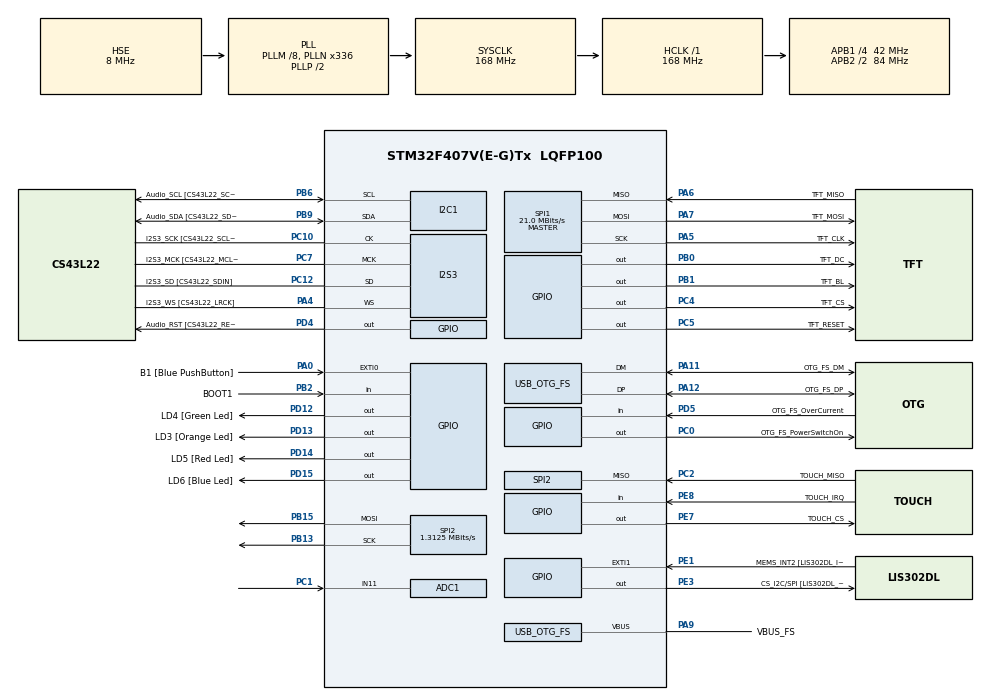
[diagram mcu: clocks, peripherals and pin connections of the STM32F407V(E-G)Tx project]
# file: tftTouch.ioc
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ADC1.Channel-0\#ChannelRegularConversion=ADC_CHANNEL_TEMPSENSOR
ADC1.Channel-1\#ChannelRegularConversion=ADC_CHANNEL_11
ADC1.ClockPrescaler=ADC_CLOCK_SYNC_PCLK_DIV8
ADC1.ContinuousConvMode=ENABLE
ADC1.DMAContinuousRequests=ENABLE
ADC1.NbrOfConversion=2
ADC1.NbrOfConversionFlag=1
ADC1.Rank-0\#ChannelRegularConversion=1
ADC1.Rank-1\#ChannelRegularConversion=2
ADC1.SamplingTime-0\#ChannelRegularConversion=ADC_SAMPLETIME_112CYCLES
ADC1.SamplingTime-1\#ChannelRegularConversion=ADC_SAMPLETIME_112CYCLES
ADC1.ScanConvMode=ENABLE
ADC1.master=1
Dma.ADC1.0.Direction=DMA_PERIPH_TO_MEMORY
Dma.ADC1.0.FIFOMode=DMA_FIFOMODE_ENABLE
Dma.ADC1.0.FIFOThreshold=DMA_FIFO_THRESHOLD_FULL
Dma.ADC1.0.Instance=DMA2_Stream0
Dma.ADC1.0.MemBurst=DMA_MBURST_SINGLE
Dma.ADC1.0.MemDataAlignment=DMA_MDATAALIGN_WORD
Dma.ADC1.0.MemInc=DMA_MINC_ENABLE
Dma.ADC1.0.Mode=DMA_CIRCULAR
Dma.ADC1.0.PeriphBurst=DMA_PBURST_SINGLE
Dma.ADC1.0.PeriphDataAlignment=DMA_PDATAALIGN_WORD
Dma.ADC1.0.PeriphInc=DMA_PINC_DISABLE
Dma.ADC1.0.Priority=DMA_PRIORITY_LOW
Dma.Request0=ADC1
I2S3.AudioFreq-Half_Duplex_Master=I2S_AUDIOFREQ_96K
I2S3.ErrorAudioFreq=-2.34 %
I2S3.ErrorAudioFreq-Half_Duplex_Master=0.8 %
I2S3.FullDuplexMode=I2S_FULLDUPLEXMODE_DISABLE
I2S3.Instance=SPI$Index
I2S3.RealAudioFreq=93.75 KHz
I2S3.RealAudioFreq-Half_Duplex_Master=96.774 KHz
I2S3.VirtualMode=I2S_MODE_MASTER
Mcu.Family=STM32F4
Mcu.Name=STM32F407V(E-G)Tx
Mcu.Package=LQFP100
NVIC.DMA2_Stream0_IRQn=true\:0\:0\:false\:false\:true\:false\:true
NVIC.OTG_FS_IRQn=true\:0\:0\:false\:false\:true\:true\:true
NVIC.PriorityGroup=NVIC_PRIORITYGROUP_0
PA0-WKUP.GPIO_Label=B1 [Blue PushButton]
PA0-WKUP.GPIO_ModeDefaultEXTI=GPIO_MODE_EVT_RISING
PA0-WKUP.GPIO_PuPd=GPIO_NOPULL
PA0-WKUP.Signal=GPXTI0
PA10.GPIO_Label=OTG_FS_ID
PA10.GPIO_Mode=GPIO_MODE_AF_PP
PA10.GPIO_PuPd=GPIO_NOPULL
PA10.GPIO_Speed=GPIO_SPEED_FREQ_LOW
PA10.Signal=USB_OTG_FS_ID
PA11.GPIO_Label=OTG_FS_DM
PA11.GPIO_Mode=GPIO_MODE_AF_PP
PA11.GPIO_PuPd=GPIO_NOPULL
PA11.GPIO_Speed=GPIO_SPEED_FREQ_LOW
PA11.Mode=Host_Only
PA11.Signal=USB_OTG_FS_DM
PA12.GPIO_Label=OTG_FS_DP
PA12.GPIO_Mode=GPIO_MODE_AF_PP
PA12.GPIO_PuPd=GPIO_NOPULL
PA12.GPIO_Speed=GPIO_SPEED_FREQ_LOW
PA12.Mode=Host_Only
PA12.Signal=USB_OTG_FS_DP
PA13.GPIO_Label=SWDIO
PA13.Mode=Trace_Asynchronous_SW
PA13.Signal=SYS_JTMS-SWDIO
PA14.GPIO_Label=SWCLK
PA14.Mode=Trace_Asynchronous_SW
PA14.Signal=SYS_JTCK-SWCLK
PA4.GPIO_Label=I2S3_WS [CS43L22_LRCK]
PA4.GPIO_Mode=GPIO_MODE_AF_PP
PA4.GPIO_PuPd=GPIO_NOPULL
PA4.GPIO_Speed=GPIO_SPEED_FREQ_LOW
PA4.Mode=Half_Duplex_Master
PA4.Signal=I2S3_WS
PA5.GPIO_Label=TFT_CLK
PA5.GPIO_Mode=GPIO_MODE_AF_PP
PA5.GPIO_PuPd=GPIO_NOPULL
PA5.GPIO_Speed=GPIO_SPEED_FREQ_LOW
PA5.Mode=Full_Duplex_Master
PA5.Signal=SPI1_SCK
PA6.GPIO_Label=TFT_MISO
PA6.GPIO_Mode=GPIO_MODE_AF_PP
PA6.GPIO_PuPd=GPIO_NOPULL
PA6.GPIO_Speed=GPIO_SPEED_FREQ_LOW
PA6.Mode=Full_Duplex_Master
PA6.Signal=SPI1_MISO
PA7.GPIO_Label=TFT_MOSI
PA7.GPIO_Mode=GPIO_MODE_AF_PP
PA7.GPIO_PuPd=GPIO_NOPULL
PA7.GPIO_Speed=GPIO_SPEED_FREQ_LOW
PA7.Mode=Full_Duplex_Master
PA7.Signal=SPI1_MOSI
PA9.GPIO_Label=VBUS_FS
PA9.GPIO_Mode=GPIO_MODE_INPUT
PA9.GPIO_PuPd=GPIO_NOPULL
PA9.Mode=Activate_VBUS
PA9.Signal=USB_OTG_FS_VBUS
PB0.GPIO_Label=TFT_DC
PB0.Signal=GPIO_Output
PB1.GPIO_Label=TFT_BL
PB1.Signal=GPIO_Output
PB10.GPIO_Label=CLK_IN [MP45DT02_CLK]
PB10.GPIO_Mode=GPIO_MODE_AF_PP
PB10.GPIO_PuPd=GPIO_NOPULL
PB10.GPIO_Speed=GPIO_SPEED_FREQ_LOW
PB10.Signal=I2S2_CK
PB13.Mode=Full_Duplex_Master
PB13.Signal=SPI2_SCK
PB15.Mode=Full_Duplex_Master
PB15.Signal=SPI2_MOSI
PB2.GPIO_Label=BOOT1
PB2.GPIO_Mode=GPIO_MODE_INPUT
PB2.GPIO_PuPd=GPIO_NOPULL
PB2.Signal=GPIO_Input
PB3.GPIO_Label=SWO
PB3.Mode=Trace_Asynchronous_SW
PB3.Signal=SYS_JTDO-SWO
PB6.GPIO_Label=Audio_SCL [CS43L22_SCL]
PB6.GPIO_Mode=GPIO_MODE_AF_OD
PB6.GPIO_Pu=GPIO_PULLUP
PB6.GPIO_PuPd=GPIO_NOPULL
PB6.GPIO_Speed=GPIO_SPEED_FREQ_LOW
PB6.Mode=I2C
PB6.Signal=I2C1_SCL
PB9.GPIO_Label=Audio_SDA [CS43L22_SDA]
PB9.GPIO_Mode=GPIO_MODE_AF_OD
PB9.GPIO_Pu=GPIO_PULLUP
PB9.GPIO_PuPd=GPIO_NOPULL
PB9.GPIO_Speed=GPIO_SPEED_FREQ_LOW
PB9.Mode=I2C
PB9.Signal=I2C1_SDA
PC0.GPIO_Label=OTG_FS_PowerSwitchOn
PC0.GPIO_PuPd=GPIO_NOPULL
PC0.GPIO_Speed=GPIO_SPEED_FREQ_LOW
PC0.PinState=GPIO_PIN_SET
PC0.Signal=GPIO_Output
PC1.Signal=ADCx_IN11
PC10.GPIO_Label=I2S3_SCK [CS43L22_SCLK]
PC10.GPIO_Mode=GPIO_MODE_AF_PP
PC10.GPIO_PuPd=GPIO_NOPULL
PC10.GPIO_Speed=GPIO_SPEED_FREQ_LOW
PC10.Mode=Half_Duplex_Master
PC10.Signal=I2S3_CK
PC12.GPIO_Label=I2S3_SD [CS43L22_SDIN]
PC12.GPIO_Mode=GPIO_MODE_AF_PP
PC12.GPIO_PuPd=GPIO_NOPULL
PC12.GPIO_Speed=GPIO_SPEED_FREQ_LOW
PC12.Mode=Half_Duplex_Master
PC12.Signal=I2S3_SD
PC14-OSC32_IN.GPIO_Label=PC14-OSC32_IN
PC14-OSC32_IN.Mode=LSE-External-Oscillator
PC14-OSC32_IN.Signal=RCC_OSC32_IN
PC15-OSC32_OUT.GPIO_Label=PC15-OSC32_OUT
PC15-OSC32_OUT.Mode=LSE-External-Oscillator
PC15-OSC32_OUT.Signal=RCC_OSC32_OUT
PC2.GPIO_Label=TOUCH_MISO
PC2.Mode=Full_Duplex_Master
PC2.Signal=SPI2_MISO
PC3.GPIO_Label=PDM_OUT [MP45DT02_DOUT]
PC3.GPIO_Mode=GPIO_MODE_AF_PP
PC3.GPIO_PuPd=GPIO_NOPULL
PC3.GPIO_Speed=GPIO_SPEED_FREQ_LOW
PC3.Signal=I2S2_SD
PC4.GPIO_Label=TFT_CS
PC4.Signal=GPIO_Output
PC5.GPIO_Label=TFT_RESET
PC5.Signal=GPIO_Output
PC7.GPIO_Label=I2S3_MCK [CS43L22_MCLK]
PC7.GPIO_Mode=GPIO_MODE_AF_PP
PC7.GPIO_PuPd=GPIO_NOPULL
PC7.GPIO_Speed=GPIO_SPEED_FREQ_LOW
PC7.Mode=Master_Clock_Activated
PC7.Signal=I2S3_MCK
PD12.GPIO_Label=LD4 [Green Led]
PD12.GPIO_PuPd=GPIO_NOPULL
PD12.GPIO_Speed=GPIO_SPEED_FREQ_LOW
PD12.Signal=GPIO_Output
PD13.GPIO_Label=LD3 [Orange Led]
PD13.GPIO_ModeDefaultOutputPP=GPIO_MODE_OUTPUT_PP
PD13.GPIO_PuPd=GPIO_NOPULL
PD13.GPIO_Speed=GPIO_SPEED_FREQ_MEDIUM
PD13.Signal=GPIO_Output
PD14.GPIO_Label=LD5 [Red Led]
PD14.GPIO_PuPd=GPIO_NOPULL
PD14.GPIO_Speed=GPIO_SPEED_FREQ_LOW
PD14.Signal=GPIO_Output
PD15.GPIO_Label=LD6 [Blue Led]
PD15.GPIO_PuPd=GPIO_NOPULL
PD15.GPIO_Speed=GPIO_SPEED_FREQ_LOW
PD15.Signal=GPIO_Output
PD4.GPIO_Label=Audio_RST [CS43L22_RESET]
PD4.GPIO_PuPd=GPIO_NOPULL
PD4.GPIO_Speed=GPIO_SPEED_FREQ_LOW
PD4.Signal=GPIO_Output
PD5.GPIO_Label=OTG_FS_OverCurrent
PD5.GPIO_Mode=GPIO_MODE_INPUT
PD5.GPIO_PuPd=GPIO_NOPULL
PD5.Signal=GPIO_Input
PE1.GPIO_Label=MEMS_INT2 [LIS302DL_INT2]
PE1.GPIO_ModeDefaultEXTI=GPIO_MODE_EVT_RISING
PE1.GPIO_PuPd=GPIO_NOPULL
PE1.Signal=GPXTI1
PE3.GPIO_Label=CS_I2C/SPI [LIS302DL_CS_I2C/SPI]
PE3.GPIO_PuPd=GPIO_NOPULL
PE3.GPIO_Speed=GPIO_SPEED_FREQ_LOW
PE3.Signal=GPIO_Output
PE7.GPIO_Label=TOUCH_CS
PE7.Signal=GPIO_Output
PE8.GPIO_Label=TOUCH_IRQ
PE8.Signal=GPIO_Input
PH0-OSC_IN.GPIO_Label=PH0-OSC_IN
PH0-OSC_IN.Mode=HSE-External-Oscillator
PH0-OSC_IN.Signal=RCC_OSC_IN
PH1-OSC_OUT.GPIO_Label=PH1-OSC_OUT
PH1-OSC_OUT.Mode=HSE-External-Oscillator
PH1-OSC_OUT.Signal=RCC_OSC_OUT
ProjectManager.HeapSize=0x200
ProjectManager.StackSize=0x400
ProjectManager.TargetToolchain=STM32CubeIDE
RCC.48MHZClocksFreq_Value=48000000
RCC.AHBFreq_Value=168000000
RCC.APB1CLKDivider=RCC_HCLK_DIV4
RCC.APB1Freq_Value=42000000
RCC.APB1TimFreq_Value=84000000
RCC.APB2CLKDivider=RCC_HCLK_DIV2
RCC.APB2Freq_Value=84000000
RCC.APB2TimFreq_Value=168000000
RCC.CortexFreq_Value=168000000
RCC.HCLKFreq_Value=168000000
RCC.HSE_VALUE=8000000
RCC.HSI_VALUE=16000000
RCC.PLLM=8
RCC.PLLN=336
RCC.PLLQ=7
RCC.SYSCLKFreq_VALUE=168000000
RCC.SYSCLKSource=RCC_SYSCLKSOURCE_PLLCLK
RCC.VCOOutputFreq_Value=336000000
SH.ADCx_IN11.0=ADC3_IN11
SH.ADCx_IN11.1=ADC1_IN11,IN11
SPI1.BaudRatePrescaler=SPI_BAUDRATEPRESCALER_4
SPI1.BaudRatePrescaler-Full_Duplex_Master=SPI_BAUDRATEPRESCALER_2
SPI1.CalculateBaudRate=21.0 MBits/s
SPI1.CalculateBaudRate-Full_Duplex_Master=42.0 MBits/s
SPI1.Direction=SPI_DIRECTION_2LINES
SPI1.Mode=SPI_MODE_MASTER
SPI1.Mode-Full_Duplex_Master=SPI_MODE_MASTER
SPI1.VirtualType=VM_MASTER
SPI2.BaudRatePrescaler=SPI_BAUDRATEPRESCALER_32
SPI2.CalculateBaudRate=1.3125 MBits/s
SPI2.Direction=SPI_DIRECTION_2LINES
SPI2.Mode=SPI_MODE_MASTER
SPI2.VirtualType=VM_MASTER
USB_HOST.BSP.number=1
USB_HOST.USBH_HandleTypeDef-CDC_FS=hUsbHostFS
USB_HOST.VirtualModeFS=Cdc
USB_HOST0.BSP.STBoard=false
USB_HOST0.BSP.api=Unknown
USB_HOST0.BSP.i2caddr=0
USB_HOST0.BSP.i2creg=0
USB_HOST0.BSP.instance=PC0
USB_HOST0.BSP.ip=GPIO
USB_HOST0.BSP.mode=Output
USB_HOST0.BSP.name=Drive_VBUS_FS
USB_HOST0.BSP.solution=PC0
USB_OTG_FS.VirtualMode=Host_Only
USB_OTG_FS.phy_itface=HCD_PHY_EMBEDDED
VP_ADC1_TempSens_Input.Mode=IN-TempSens
VP_CRC_VS_CRC.Mode=CRC_Activate
VP_TIM2_VS_ClockSourceINT.Mode=Internal
VP_USB_HOST_VS_USB_HOST_CDC_FS.Mode=CDC_FS
board=STM32F407G-DISC1

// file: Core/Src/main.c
/* USER CODE BEGIN Header */

/**
 * Loren Olsen Lab 07
ECET 260 Mel Dundas

Oct 20 2021

TFT TouchScreen

Added a touch screen functioanlity to our board.

Toggles the red and green onboard LEDs with gui buttons on the touch screen

Running a TFT display with the STM32F4 Discovery Board
We are using the SPI interface. We needed to down the interface speed in the ioc configuration file.
for SPI1 and SPi2 for the STM32 to communicate with the display properly.

Added STemWin drivers and libraries to the project for graphical display functions

This program is also using DMA to get a temperature from an external thermistor on GPIO1

  ******************************************************************************
  * @file           : main.c
  * @brief          : Main program body
  ******************************************************************************
  * @attention
  *
  * <h2><center>&copy; Copyright (c) 2021 STMicroelectronics.
  * All rights reserved.</center></h2>
  *
  * This software component is licensed by ST under Ultimate Liberty license
  * SLA0044, the "License"; You may not use this file except in compliance with
  * the License. You may obtain a copy of the License at:
  *                             www.st.com/SLA0044
  *
  ******************************************************************************
  */
/* USER CODE END Header */
#include "main.h"
#include "usb_host.h"

/* USER CODE BEGIN Includes */
#include <stdio.h>
#include <math.h>
#include <gui.h>
#include <button.h>

/* USER CODE END Includes */

ADC_HandleTypeDef hadc1;
DMA_HandleTypeDef hdma_adc1;

CRC_HandleTypeDef hcrc;

I2C_HandleTypeDef hi2c1;

I2S_HandleTypeDef hi2s3;

SPI_HandleTypeDef hspi1;
SPI_HandleTypeDef hspi2;

TIM_HandleTypeDef htim2;

/* USER CODE BEGIN PV */

extern GUI_PID_STATE pstate;

uint32_t dmaData[200];
uint32_t cpuRaw, thermRaw, count = 0;
float tempcpu, tempextern, readcpu, readtherm = 0.0;
int GUI_Check = 0;

BUTTON_Handle hButtonL;			//Create a button called hButtonL of the type BUTTON_Handle
BUTTON_Handle hButtonR;			//Create a button called hButtonR of the type BUTTON_Handle

/* USER CODE END PV */

void SystemClock_Config(void);
static void MX_GPIO_Init(void);
static void MX_I2C1_Init(void);
static void MX_I2S3_Init(void);
static void MX_SPI1_Init(void);
static void MX_DMA_Init(void);
static void MX_ADC1_Init(void);
static void MX_CRC_Init(void);
static void MX_SPI2_Init(void);
static void MX_TIM2_Init(void);
void MX_USB_HOST_Process(void);

/* USER CODE BEGIN PFP */

int __io_putchar(int ch);	//Used for printing
float  convertAnalogToTemperature(unsigned int analogReadValue);	//Creates an actual temp from an analog value
float convertAnalogCPUToTemperature(unsigned int analogReadValue);	//Creates an actual temp from an analog value

void doTemps();	//Calls functions to convert temps and then prints them

/* USER CODE END PFP */

int main(void)
{

  /* MCU Configuration--------------------------------------------------------*/

  /* Reset of all peripherals, Initializes the Flash interface and the Systick. */
  HAL_Init();

  /* Configure the system clock */
  SystemClock_Config();

  /* Initialize all configured peripherals */
  MX_GPIO_Init();
  MX_I2C1_Init();
  MX_I2S3_Init();
  MX_SPI1_Init();
  MX_USB_HOST_Init();
  MX_DMA_Init();
  MX_ADC1_Init();
  MX_CRC_Init();
  MX_SPI2_Init();
  MX_TIM2_Init();
  /* USER CODE BEGIN 2 */

  GUI_Init();								//Init the GUI on the display
  GUI_SetBkColor(GUI_BLACK);				//Set background colour
  GUI_Clear();								//Clear the display
  GUI_SetFont(&GUI_Font20_1);				//Set the font (non-ascii)
  GUI_SetColor(GUI_GREEN);					//Set text colour

  GUI_DispStringHCenterAt("ECET 260", 160, 50);			//Display the Title page centered at x= 160 y= 50
  GUI_DispStringHCenterAt("Loren Olsen", 160, 100);

  HAL_ADC_Start_DMA(&hadc1, dmaData, 200);												//Start the ADC converiosn and send it via DMA to dmaData Array
  	  	  	  	  	  	  	  	  	  	  	  	  	  	  	  	  	  	  	  	  	  	//Because of the ranking in the DMA , odd array values will be CPU data
  	  	  	  	  	  	  	  	  	  	  	  	  	  	  	  	  	  	  	  	  	  	// and odd values will be for the thermistor
  HAL_Delay(1000);																		//Keep the title page displayed for 1 second
  GUI_Clear();																			//Clear the Screen before starting the while(1) This is after the delay so the DMA has time to get real values for the ADC temps

  //Creating a Button
  hButtonL = BUTTON_CreateEx(10, 100, 100, 60, 0, WM_CF_SHOW, 0, GUI_ID_BUTTON0);
  BUTTON_SetText(hButtonL, "Red");

  hButtonR = BUTTON_CreateEx(210, 100, 100, 60, 0, WM_CF_SHOW, 0, GUI_ID_BUTTON1);
  BUTTON_SetText(hButtonR, "Green");

  /* USER CODE END 2 */

  /* Infinite loop */
  /* USER CODE BEGIN WHILE */

  while (1)	//****************************************************************************     Start of WHILE(1)
  {

	  GUI_TOUCH_GetState(&pstate);
	  GUI_DispDecAt(pstate.x, 20, 20, 4);												//Display Raw X values
	  GUI_DispDecAt(pstate.y, 100, 20, 4);

	  doTemps();																		//Call function to read temps from DMA and print them to the screen

	  //Toggle Orange LED every 1000ms
	  if (count >= 1000)																//Count is incremented in systick function. 1 tick per ms
	  {
		  HAL_GPIO_TogglePin(OrangeLED_GPIO_Port, OrangeLED_Pin);
		  count -= 1000;
	  }

	  if (GUI_Check >= 10)
	  {
		  GUI_TOUCH_Exec();																	//Check if the screen is being touched every 100ms
		  GUI_Check -= 10;
	  }

	  //Check if the Right button is pushed and turn on the GREEN Led
	  if (BUTTON_IsPressed(hButtonR) == 1)
	  {
		  HAL_GPIO_WritePin(GreenLED_GPIO_Port, GreenLED_Pin, GPIO_PIN_SET);
	  }

	  else
	  {
		  HAL_GPIO_WritePin(GreenLED_GPIO_Port, GreenLED_Pin, GPIO_PIN_RESET);			//Turn off the Green LED if the button is not pushed
	  }

	  //Check if the Left button is pushed and turn on the Red Led
	  if (BUTTON_IsPressed(hButtonL) == 1)
	  {
		  HAL_GPIO_WritePin(RedLED_GPIO_Port, RedLED_Pin, GPIO_PIN_SET);
	  }

	  else
	  {
		  HAL_GPIO_WritePin(RedLED_GPIO_Port, RedLED_Pin, GPIO_PIN_RESET);				//Turn off the Red LED if the button is not pushed
	  }

  }//***********************************************************************************		END WHILE(1)

    /* USER CODE END WHILE */
    MX_USB_HOST_Process();

}

void SystemClock_Config(void)
{
  RCC_OscInitTypeDef RCC_OscInitStruct = {0};
  RCC_ClkInitTypeDef RCC_ClkInitStruct = {0};

  /** Configure the main internal regulator output voltage
  */
  __HAL_RCC_PWR_CLK_ENABLE();
  __HAL_PWR_VOLTAGESCALING_CONFIG(PWR_REGULATOR_VOLTAGE_SCALE1);
  /** Initializes the RCC Oscillators according to the specified parameters
  * in the RCC_OscInitTypeDef structure.
  */
  RCC_OscInitStruct.OscillatorType = RCC_OSCILLATORTYPE_HSE;
  RCC_OscInitStruct.HSEState = RCC_HSE_ON;
  RCC_OscInitStruct.PLL.PLLState = RCC_PLL_ON;
  RCC_OscInitStruct.PLL.PLLSource = RCC_PLLSOURCE_HSE;
  RCC_OscInitStruct.PLL.PLLM = 8;
  RCC_OscInitStruct.PLL.PLLN = 336;
  RCC_OscInitStruct.PLL.PLLP = RCC_PLLP_DIV2;
  RCC_OscInitStruct.PLL.PLLQ = 7;
  if (HAL_RCC_OscConfig(&RCC_OscInitStruct) != HAL_OK)
  {
    Error_Handler();
  }
  /** Initializes the CPU, AHB and APB buses clocks
  */
  RCC_ClkInitStruct.ClockType = RCC_CLOCKTYPE_HCLK|RCC_CLOCKTYPE_SYSCLK
                              |RCC_CLOCKTYPE_PCLK1|RCC_CLOCKTYPE_PCLK2;
  RCC_ClkInitStruct.SYSCLKSource = RCC_SYSCLKSOURCE_PLLCLK;
  RCC_ClkInitStruct.AHBCLKDivider = RCC_SYSCLK_DIV1;
  RCC_ClkInitStruct.APB1CLKDivider = RCC_HCLK_DIV4;
  RCC_ClkInitStruct.APB2CLKDivider = RCC_HCLK_DIV2;

  if (HAL_RCC_ClockConfig(&RCC_ClkInitStruct, FLASH_LATENCY_5) != HAL_OK)
  {
    Error_Handler();
  }
}

static void MX_ADC1_Init(void)
{

  ADC_ChannelConfTypeDef sConfig = {0};

  /** Configure the global features of the ADC (Clock, Resolution, Data Alignment and number of conversion)
  */
  hadc1.Instance = ADC1;
  hadc1.Init.ClockPrescaler = ADC_CLOCK_SYNC_PCLK_DIV8;
  hadc1.Init.Resolution = ADC_RESOLUTION_12B;
  hadc1.Init.ScanConvMode = ENABLE;
  hadc1.Init.ContinuousConvMode = ENABLE;
  hadc1.Init.DiscontinuousConvMode = DISABLE;
  hadc1.Init.ExternalTrigConvEdge = ADC_EXTERNALTRIGCONVEDGE_NONE;
  hadc1.Init.ExternalTrigConv = ADC_SOFTWARE_START;
  hadc1.Init.DataAlign = ADC_DATAALIGN_RIGHT;
  hadc1.Init.NbrOfConversion = 2;
  hadc1.Init.DMAContinuousRequests = ENABLE;
  hadc1.Init.EOCSelection = ADC_EOC_SINGLE_CONV;
  if (HAL_ADC_Init(&hadc1) != HAL_OK)
  {
    Error_Handler();
  }
  /** Configure for the selected ADC regular channel its corresponding rank in the sequencer and its sample time.
  */
  sConfig.Channel = ADC_CHANNEL_TEMPSENSOR;
  sConfig.Rank = 1;
  sConfig.SamplingTime = ADC_SAMPLETIME_112CYCLES;
  if (HAL_ADC_ConfigChannel(&hadc1, &sConfig) != HAL_OK)
  {
    Error_Handler();
  }
  /** Configure for the selected ADC regular channel its corresponding rank in the sequencer and its sample time.
  */
  sConfig.Channel = ADC_CHANNEL_11;
  sConfig.Rank = 2;
  if (HAL_ADC_ConfigChannel(&hadc1, &sConfig) != HAL_OK)
  {
    Error_Handler();
  }

}

static void MX_CRC_Init(void)
{

  hcrc.Instance = CRC;
  if (HAL_CRC_Init(&hcrc) != HAL_OK)
  {
    Error_Handler();
  }

}

static void MX_I2C1_Init(void)
{

  hi2c1.Instance = I2C1;
  hi2c1.Init.ClockSpeed = 100000;
  hi2c1.Init.DutyCycle = I2C_DUTYCYCLE_2;
  hi2c1.Init.OwnAddress1 = 0;
  hi2c1.Init.AddressingMode = I2C_ADDRESSINGMODE_7BIT;
  hi2c1.Init.DualAddressMode = I2C_DUALADDRESS_DISABLE;
  hi2c1.Init.OwnAddress2 = 0;
  hi2c1.Init.GeneralCallMode = I2C_GENERALCALL_DISABLE;
  hi2c1.Init.NoStretchMode = I2C_NOSTRETCH_DISABLE;
  if (HAL_I2C_Init(&hi2c1) != HAL_OK)
  {
    Error_Handler();
  }

}

static void MX_I2S3_Init(void)
{

  hi2s3.Instance = SPI3;
  hi2s3.Init.Mode = I2S_MODE_MASTER_TX;
  hi2s3.Init.Standard = I2S_STANDARD_PHILIPS;
  hi2s3.Init.DataFormat = I2S_DATAFORMAT_16B;
  hi2s3.Init.MCLKOutput = I2S_MCLKOUTPUT_ENABLE;
  hi2s3.Init.AudioFreq = I2S_AUDIOFREQ_96K;
  hi2s3.Init.CPOL = I2S_CPOL_LOW;
  hi2s3.Init.ClockSource = I2S_CLOCK_PLL;
  hi2s3.Init.FullDuplexMode = I2S_FULLDUPLEXMODE_DISABLE;
  if (HAL_I2S_Init(&hi2s3) != HAL_OK)
  {
    Error_Handler();
  }

}

static void MX_SPI1_Init(void)
{

  /* SPI1 parameter configuration*/
  hspi1.Instance = SPI1;
  hspi1.Init.Mode = SPI_MODE_MASTER;
  hspi1.Init.Direction = SPI_DIRECTION_2LINES;
  hspi1.Init.DataSize = SPI_DATASIZE_8BIT;
  hspi1.Init.CLKPolarity = SPI_POLARITY_LOW;
  hspi1.Init.CLKPhase = SPI_PHASE_1EDGE;
  hspi1.Init.NSS = SPI_NSS_SOFT;
  hspi1.Init.BaudRatePrescaler = SPI_BAUDRATEPRESCALER_4;
  hspi1.Init.FirstBit = SPI_FIRSTBIT_MSB;
  hspi1.Init.TIMode = SPI_TIMODE_DISABLE;
  hspi1.Init.CRCCalculation = SPI_CRCCALCULATION_DISABLE;
  hspi1.Init.CRCPolynomial = 10;
  if (HAL_SPI_Init(&hspi1) != HAL_OK)
  {
    Error_Handler();
  }

}

static void MX_SPI2_Init(void)
{

  /* SPI2 parameter configuration*/
  hspi2.Instance = SPI2;
  hspi2.Init.Mode = SPI_MODE_MASTER;
  hspi2.Init.Direction = SPI_DIRECTION_2LINES;
  hspi2.Init.DataSize = SPI_DATASIZE_8BIT;
  hspi2.Init.CLKPolarity = SPI_POLARITY_LOW;
  hspi2.Init.CLKPhase = SPI_PHASE_1EDGE;
  hspi2.Init.NSS = SPI_NSS_SOFT;
  hspi2.Init.BaudRatePrescaler = SPI_BAUDRATEPRESCALER_32;
  hspi2.Init.FirstBit = SPI_FIRSTBIT_MSB;
  hspi2.Init.TIMode = SPI_TIMODE_DISABLE;
  hspi2.Init.CRCCalculation = SPI_CRCCALCULATION_DISABLE;
  hspi2.Init.CRCPolynomial = 10;
  if (HAL_SPI_Init(&hspi2) != HAL_OK)
  {
    Error_Handler();
  }

}

static void MX_TIM2_Init(void)
{

  TIM_ClockConfigTypeDef sClockSourceConfig = {0};
  TIM_MasterConfigTypeDef sMasterConfig = {0};

  htim2.Instance = TIM2;
  htim2.Init.Prescaler = 0;
  htim2.Init.CounterMode = TIM_COUNTERMODE_UP;
  htim2.Init.Period = 4294967295;
  htim2.Init.ClockDivision = TIM_CLOCKDIVISION_DIV1;
  htim2.Init.AutoReloadPreload = TIM_AUTORELOAD_PRELOAD_DISABLE;
  if (HAL_TIM_Base_Init(&htim2) != HAL_OK)
  {
    Error_Handler();
  }
  sClockSourceConfig.ClockSource = TIM_CLOCKSOURCE_INTERNAL;
  if (HAL_TIM_ConfigClockSource(&htim2, &sClockSourceConfig) != HAL_OK)
  {
    Error_Handler();
  }
  sMasterConfig.MasterOutputTrigger = TIM_TRGO_RESET;
  sMasterConfig.MasterSlaveMode = TIM_MASTERSLAVEMODE_DISABLE;
  if (HAL_TIMEx_MasterConfigSynchronization(&htim2, &sMasterConfig) != HAL_OK)
  {
    Error_Handler();
  }

}

static void MX_DMA_Init(void)
{

  /* DMA controller clock enable */
  __HAL_RCC_DMA2_CLK_ENABLE();

  /* DMA interrupt init */
  /* DMA2_Stream0_IRQn interrupt configuration */
  HAL_NVIC_SetPriority(DMA2_Stream0_IRQn, 0, 0);
  HAL_NVIC_EnableIRQ(DMA2_Stream0_IRQn);

}

static void MX_GPIO_Init(void)
{
  GPIO_InitTypeDef GPIO_InitStruct = {0};

  /* GPIO Ports Clock Enable */
  __HAL_RCC_GPIOE_CLK_ENABLE();
  __HAL_RCC_GPIOC_CLK_ENABLE();
  __HAL_RCC_GPIOH_CLK_ENABLE();
  __HAL_RCC_GPIOA_CLK_ENABLE();
  __HAL_RCC_GPIOB_CLK_ENABLE();
  __HAL_RCC_GPIOD_CLK_ENABLE();

  /*Configure GPIO pin Output Level */
  HAL_GPIO_WritePin(GPIOE, CS_I2C_SPI_Pin|TOUCH_CS_Pin, GPIO_PIN_RESET);

  /*Configure GPIO pin Output Level */
  HAL_GPIO_WritePin(OTG_FS_PowerSwitchOn_GPIO_Port, OTG_FS_PowerSwitchOn_Pin, GPIO_PIN_SET);

  /*Configure GPIO pin Output Level */
  HAL_GPIO_WritePin(GPIOC, TFT_CS_Pin|TFT_RESET_Pin, GPIO_PIN_RESET);

  /*Configure GPIO pin Output Level */
  HAL_GPIO_WritePin(GPIOB, TFT_DC_Pin|TFT_BL_Pin, GPIO_PIN_RESET);

  /*Configure GPIO pin Output Level */
  HAL_GPIO_WritePin(GPIOD, LD4_Pin|LD3_Pin|LD5_Pin|LD6_Pin
                          |Audio_RST_Pin, GPIO_PIN_RESET);

  /*Configure GPIO pins : CS_I2C_SPI_Pin TOUCH_CS_Pin */
  GPIO_InitStruct.Pin = CS_I2C_SPI_Pin|TOUCH_CS_Pin;
  GPIO_InitStruct.Mode = GPIO_MODE_OUTPUT_PP;
  GPIO_InitStruct.Pull = GPIO_NOPULL;
  GPIO_InitStruct.Speed = GPIO_SPEED_FREQ_LOW;
  HAL_GPIO_Init(GPIOE, &GPIO_InitStruct);

  /*Configure GPIO pins : OTG_FS_PowerSwitchOn_Pin TFT_CS_Pin TFT_RESET_Pin */
  GPIO_InitStruct.Pin = OTG_FS_PowerSwitchOn_Pin|TFT_CS_Pin|TFT_RESET_Pin;
  GPIO_InitStruct.Mode = GPIO_MODE_OUTPUT_PP;
  GPIO_InitStruct.Pull = GPIO_NOPULL;
  GPIO_InitStruct.Speed = GPIO_SPEED_FREQ_LOW;
  HAL_GPIO_Init(GPIOC, &GPIO_InitStruct);

  /*Configure GPIO pin : PC1 */
  GPIO_InitStruct.Pin = GPIO_PIN_1;
  GPIO_InitStruct.Mode = GPIO_MODE_ANALOG;
  GPIO_InitStruct.Pull = GPIO_NOPULL;
  HAL_GPIO_Init(GPIOC, &GPIO_InitStruct);

  /*Configure GPIO pin : PDM_OUT_Pin */
  GPIO_InitStruct.Pin = PDM_OUT_Pin;
  GPIO_InitStruct.Mode = GPIO_MODE_AF_PP;
  GPIO_InitStruct.Pull = GPIO_NOPULL;
  GPIO_InitStruct.Speed = GPIO_SPEED_FREQ_LOW;
  GPIO_InitStruct.Alternate = GPIO_AF5_SPI2;
  HAL_GPIO_Init(PDM_OUT_GPIO_Port, &GPIO_InitStruct);

  /*Configure GPIO pin : B1_Pin */
  GPIO_InitStruct.Pin = B1_Pin;
  GPIO_InitStruct.Mode = GPIO_MODE_EVT_RISING;
  GPIO_InitStruct.Pull = GPIO_NOPULL;
  HAL_GPIO_Init(B1_GPIO_Port, &GPIO_InitStruct);

  /*Configure GPIO pins : TFT_DC_Pin TFT_BL_Pin */
  GPIO_InitStruct.Pin = TFT_DC_Pin|TFT_BL_Pin;
  GPIO_InitStruct.Mode = GPIO_MODE_OUTPUT_PP;
  GPIO_InitStruct.Pull = GPIO_NOPULL;
  GPIO_InitStruct.Speed = GPIO_SPEED_FREQ_LOW;
  HAL_GPIO_Init(GPIOB, &GPIO_InitStruct);

  /*Configure GPIO pin : BOOT1_Pin */
  GPIO_InitStruct.Pin = BOOT1_Pin;
  GPIO_InitStruct.Mode = GPIO_MODE_INPUT;
  GPIO_InitStruct.Pull = GPIO_NOPULL;
  HAL_GPIO_Init(BOOT1_GPIO_Port, &GPIO_InitStruct);

  /*Configure GPIO pin : TOUCH_IRQ_Pin */
  GPIO_InitStruct.Pin = TOUCH_IRQ_Pin;
  GPIO_InitStruct.Mode = GPIO_MODE_INPUT;
  GPIO_InitStruct.Pull = GPIO_NOPULL;
  HAL_GPIO_Init(TOUCH_IRQ_GPIO_Port, &GPIO_InitStruct);

  /*Configure GPIO pin : CLK_IN_Pin */
  GPIO_InitStruct.Pin = CLK_IN_Pin;
  GPIO_InitStruct.Mode = GPIO_MODE_AF_PP;
  GPIO_InitStruct.Pull = GPIO_NOPULL;
  GPIO_InitStruct.Speed = GPIO_SPEED_FREQ_LOW;
  GPIO_InitStruct.Alternate = GPIO_AF5_SPI2;
  HAL_GPIO_Init(CLK_IN_GPIO_Port, &GPIO_InitStruct);

  /*Configure GPIO pins : LD4_Pin LD5_Pin LD6_Pin Audio_RST_Pin */
  GPIO_InitStruct.Pin = LD4_Pin|LD5_Pin|LD6_Pin|Audio_RST_Pin;
  GPIO_InitStruct.Mode = GPIO_MODE_OUTPUT_PP;
  GPIO_InitStruct.Pull = GPIO_NOPULL;
  GPIO_InitStruct.Speed = GPIO_SPEED_FREQ_LOW;
  HAL_GPIO_Init(GPIOD, &GPIO_InitStruct);

  /*Configure GPIO pin : LD3_Pin */
  GPIO_InitStruct.Pin = LD3_Pin;
  GPIO_InitStruct.Mode = GPIO_MODE_OUTPUT_PP;
  GPIO_InitStruct.Pull = GPIO_NOPULL;
  GPIO_InitStruct.Speed = GPIO_SPEED_FREQ_MEDIUM;
  HAL_GPIO_Init(LD3_GPIO_Port, &GPIO_InitStruct);

  /*Configure GPIO pin : OTG_FS_OverCurrent_Pin */
  GPIO_InitStruct.Pin = OTG_FS_OverCurrent_Pin;
  GPIO_InitStruct.Mode = GPIO_MODE_INPUT;
  GPIO_InitStruct.Pull = GPIO_NOPULL;
  HAL_GPIO_Init(OTG_FS_OverCurrent_GPIO_Port, &GPIO_InitStruct);

  /*Configure GPIO pin : MEMS_INT2_Pin */
  GPIO_InitStruct.Pin = MEMS_INT2_Pin;
  GPIO_InitStruct.Mode = GPIO_MODE_EVT_RISING;
  GPIO_InitStruct.Pull = GPIO_NOPULL;
  HAL_GPIO_Init(MEMS_INT2_GPIO_Port, &GPIO_InitStruct);

}

/* USER CODE BEGIN 4 */
//**********************************************************************  Start of user Functions

//***********************************************
void doTemps()																			//Take values of the ADC and print them
{
	  for (int i = 1; i < 200; i+=2)													//Take all odd array values and add them to raw thermistor data
	  {
		   thermRaw += dmaData[i];

	  }

	  tempextern = convertAnalogToTemperature(thermRaw / 100);							//Get Thermistor temp from average of 100 raw data samples
	  readtherm = tempextern;															//Copy data to a stable variable for output on the cube ide graph

	  char thermtemp_str[8];															//Use sprintf to convert the tempextern float value to an array of chars
	  sprintf(thermtemp_str, "%.1f", tempextern);

	  char degree_symbol[2];															//Use sprintf to convert the character code 176 (degree symbol) to an array element
	  sprintf(degree_symbol, "%c", 176);

	  GUI_DispStringHCenterAt("Temp = ", 155, 110);

	  GUI_DispStringHCenterAt(thermtemp_str, 155, 130);
	  GUI_DispString(degree_symbol);

	  cpuRaw = 0;
	  thermRaw = 0;
}

//*************************************************************						//Convert the CPU values to a temperature
float  convertAnalogToTemperature(unsigned int analogReadValue)
	{
	// If analogReadValue is 4095, we would otherwise cause a Divide-By-Zero,
	  // Treat as crazy out-of-range temperature.
	  if(analogReadValue == 4095) return 1000.0;

	  return (1/((log(((10000.0 * analogReadValue) / (4095.0 - analogReadValue))/100000.0)/3950.0) + (1 / (273.15 + 25.000)))) - 273.15;
	}

//*************************************************************						//Convert the Thermistor values to a temperature
float convertAnalogCPUToTemperature(unsigned int analogReadValue)
	{
	float analogfloat = analogReadValue;

	return ((analogfloat / (float)(4095.0/3.300)) - 0.760) / .0025 + 25;
	/*
	 * Temperature (in °C) = {(VSENSE – V25) / Avg_Slope} + 25
	Where:
	– V 25 = VSENSE value for 25° C
	– Avg_Slope = average slope of the temperature vs. VSENSE curve (given in mV/°C
	or μV/°C)

	 760mV
	 2.5 slope
	 */
	}

void HAL_IncTick(void)																//Interrupt driven system timer
	{
		uwTick += uwTickFreq;
		count++;
		GUI_Check++;

	}

int __io_putchar(int ch)
   	  {
   		  ITM_SendChar(ch);
   		  return 0;
   	  }

/* USER CODE END 4 */

void Error_Handler(void)
{
  __disable_irq();
  while (1)
  {
  }
}

/************************ (C) COPYRIGHT STMicroelectronics *****END OF FILE****/
